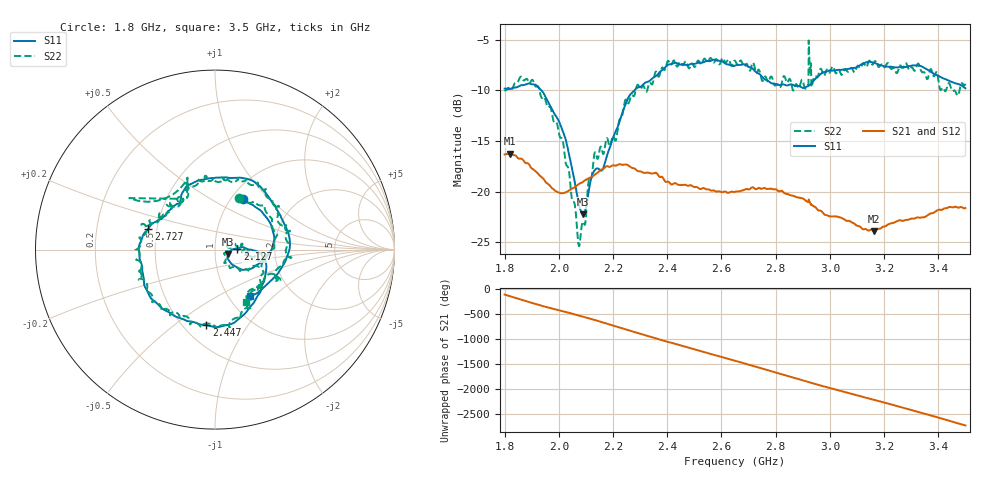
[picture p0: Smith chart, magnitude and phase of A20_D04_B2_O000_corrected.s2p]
! Created with skrf 1.9.0 (http://scikit-rf.org).
# Hz S RI R 50.0
!freq ReS11 ImS11 ReS21 ImS21 ReS12 ImS12 ReS22 ImS22
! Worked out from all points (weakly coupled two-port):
!   1601 points, 1.8 GHz to 3.5 GHz, reference 50 ohm
!   highest |S21| = -16.26 dB at 1.818 GHz (marker M1); lowest = -23.9 dB at 3.163 GHz (marker M2)
!   lowest |S11| = -22.2 dB at 2.09 GHz (marker M3), VSWR 1.17, Z = 57.8 - j2.89 ohm
!   |S11| at or under -10 dB: 1.935 GHz to 2.279 GHz (343.8 MHz wide, 16.3 % of centre)
!   |S22| runs from -25.4 to -5.1 dB; largest |S21 - S12| = 0.0024
!   S11 on the Smith chart (normalised r, x): 1.8 GHz: 1.13, +0.71; 2.127 GHz: 1.28, +0.01; 2.447 GHz: 0.64, -0.66; 2.727 GHz: 0.45, +0.12; 3.5 GHz: 1.25, -0.72
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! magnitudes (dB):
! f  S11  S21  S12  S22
! 1.8 GHz  -9.8  -16.3  -16.3  -10.0
! 1.818 GHz  -9.9  -16.3  -16.3  -9.9
! 1.902 GHz  -9.4  -17.7  -17.7  -9.0
! 1.968 GHz  -11.5  -19.4  -19.5  -11.7
! 2.023 GHz  -14.7  -20.1  -20.1  -16.8
! 2.072 GHz  -21.0  -19.3  -19.3  -25.2
! 2.084 GHz  -22.0  -19.1  -19.1  -23.5
! 2.09 GHz  -22.2  -19.0  -19.1  -23.0
! 2.127 GHz  -18.1  -18.4  -18.4  -17.1
! 2.164 GHz  -17.6  -17.8  -17.7  -16.3
! 2.261 GHz  -10.5  -17.5  -17.5  -11.0
! 2.367 GHz  -8.4  -18.4  -18.4  -8.7
! 2.447 GHz  -7.5  -19.4  -19.3  -7.2
! 2.65 GHz  -7.6  -20.0  -20.0  -7.1
! 2.727 GHz  -8.2  -19.8  -19.7  -8.1
! 2.812 GHz  -9.5  -20.0  -19.9  -9.5
! 2.934 GHz  -9.3  -21.3  -21.3  -9.5
! 3.163 GHz  -7.3  -23.9  -23.8  -7.2
! 3.217 GHz  -7.7  -23.2  -23.2  -7.4
! 3.327 GHz  -7.6  -22.6  -22.5  -7.4
! 3.468 GHz  -9.3  -21.5  -21.5  -10.4
! 3.5 GHz  -9.8  -21.6  -21.6  -9.4
